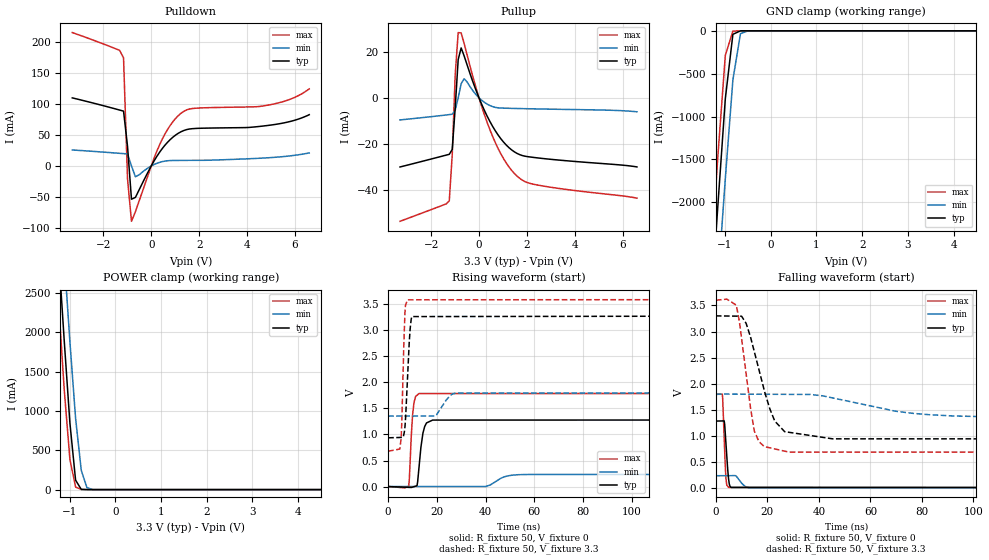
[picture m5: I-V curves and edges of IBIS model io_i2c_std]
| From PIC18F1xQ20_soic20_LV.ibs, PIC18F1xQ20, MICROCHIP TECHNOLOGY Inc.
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[Model] io_i2c_std
Model_type I/O
Vinl  =  0.8
Vinh  =  2
| Capacitance   typ   min   max
C_comp   2.725046340352118e-12   2.71334004266981e-12   2.871105718931219e-12
[Model Spec]
| Subparameter   typ   min   max
Vinl   1.5   0.81   1.65
Vinh   3.6   1.89   3.85
Vmeas   2.5   1.35   2.75
| Variables   typ   min   max
[GND Clamp Reference]   0   0   0
[POWER Clamp Reference]   3.3   1.8   3.6
[Pulldown Reference]   0   0   0
[Pullup Reference]   3.3   1.8   3.6
[Temperature Range]   25   125   -40
[Voltage Range]   3.3   1.8   3.6
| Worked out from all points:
|   slope of the pulldown table from 0 to 0.495 V, typ, clamps not added: 16.7 ohm
|   slope of the pullup table from 0 to 0.495 V, typ, clamps not added: 44.8 ohm
|   GND clamp passes 1 mA (typ) near -0.66 V on its own axis
|   POWER clamp passes 1 mA (typ) near -0.65 V on its own axis
|   falling waveform, R_fixture 50, V_fixture 0: 20-80 % time 1.09ns typ, 2.41ns min, 853ps max; typ from 1.28 V to 0 V
|   falling waveform, R_fixture 50, V_fixture 3.3: 20-80 % time 8.02ns typ, 27.6ns min, 4.76ns max; typ from 3.3 V to 0.936 V
|   rising waveform, R_fixture 50, V_fixture 0: 20-80 % time 1.83ns typ, 5.2ns min, 1.27ns max; typ from 0 V to 1.28 V
|   rising waveform, R_fixture 50, V_fixture 3.3: 20-80 % time 1.48ns typ, 4ns min, 1.03ns max; typ from 0.936 V to 3.3 V
[GND Clamp]
| Voltage   I(typ)   I(min)   I(max)
-3.3V     -18.84A    -18.97A    -18.81A
-1.324V   -3.355A    -4.2A      -2.821A
-1.159V   -2.058A    -2.962A    -1.482A
-993.1mV  -791.4mA   -1.724A    -285.7mA
-827.6mV  -40.7mA    -571.9mA   -3.271mA
-662.1mV  -675.5uA   -33.29mA   -476.7uA
-496.6mV  -18.01uA   -398.8uA   -5.006uA
6.6V      0A         0A         0A
[POWER Clamp]
| Voltage   I(typ)   I(min)   I(max)
-3.3V     21.48A     21.8A      21.33A
-1.366V   4.118A     5.086A     3.519A
-1.241V   3.004A     4.013A     2.376A
-1.117V   1.891A     2.941A     1.268A
-993.1mV  844.6mA    1.878A     384mA
-869mV    120.1mA    905.2mA    32.59mA
-744.8mV  3.04mA     244.8mA    1.422mA
-620.7mV  355.2uA    25.38mA    411.4uA
-496.6mV  31.76uA    1.028mA    50.2uA
6.6V      0A         0A         0A
[Pulldown]
| Voltage   I(typ)   I(min)   I(max)
-3.3V     109.4mA    25.68mA    214.5mA
-1.324V   89.88mA    20.27mA    185.9mA
-1.159V   88.12mA    19.77mA    173.8mA
-993.1mV  31.88mA    19.25mA    -20.25mA
-827.6mV  -53.52mA   -38.8uA    -89.02mA
-662.1mV  -50.57mA   -17.43mA   -73.42mA
341.4mV   21.7mA     5.717mA    33.47mA
796.6mV   42.57mA    8.672mA    65.49mA
1.252V    55.14mA    8.913mA    84.98mA
1.821V    60.19mA    9.023mA    92.72mA
4.914V    65.31mA    13.23mA    98.08mA
6.6V      82.43mA    20.93mA    123.9mA
[Pullup]
| Voltage   I(typ)   I(min)   I(max)
-3.3V     -30.16mA   -9.647mA   -53.85mA
-1.241V   -24.64mA   -7.321mA   -44.94mA
-1.117V   -22.53mA   -7.16mA    -24.83mA
-993.1mV  -4.252mA   -5.372mA   10.11mA
-869mV    16.68mA    -65.45uA   28.46mA
-744.8mV  21.76mA    6.197mA    28.3mA
-620.7mV  18.28mA    8.325mA    23.71mA
455.2mV   -10.29mA   -3.355mA   -13.89mA
1.024V    -19.27mA   -4.499mA   -26.48mA
1.593V    -24.26mA   -4.657mA   -34.17mA
2.503V    -26.27mA   -4.856mA   -38.14mA
6.6V      -30.13mA   -6.09mA    -43.73mA
[Ramp]
dV/dt_r   0.768807/1.83277n  0.139528/5.19713n  1.07649/1.2673n
dV/dt_f   1.41822/8.01666n  0.268062/27.6078n  1.75308/4.75909n
R_load = 50
[Falling Waveform]
R_fixture = 50
V_fixture = 0
V_fixture_min = 0
V_fixture_max = 0
| Time   V(typ)   V(min)   V(max)
0s        1.281V     232.5mV    1.794V
2.477ns   1.284V     233.3mV    1.798V
2.666ns   1.284V     233.3mV    1.692V
3.234ns   1.285V     233.5mV    955.7mV
3.935ns   839.5mV    233.7mV    174.3mV
4.239ns   614.8mV    233.8mV    52.68mV
4.941ns   170.9mV    234mV      8.652mV
5.954ns   8.684mV    234.3mV    8.636mV
13ns      8.574mV    2.345mV    8.527mV
562.5ns   3.684uV    3.402uV    2.473uV
[Falling Waveform]
R_fixture = 50
V_fixture = 3.3
V_fixture_min = 1.8
V_fixture_max = 3.6
| Time   V(typ)   V(min)   V(max)
0s        3.3V       1.8V       3.6V
7.963ns   3.295V     1.798V     3.505V
11.75ns   3.157V     1.798V     2.19V
14.93ns   2.614V     1.797V     1.093V
16.73ns   2.269V     1.797V     887.7mV
22.85ns   1.283V     1.795V     747.2mV
28.17ns   1.068V     1.794V     687.9mV
76.39ns   940.7mV    1.431V     687mV
110.8ns   940.4mV    1.359V     686.4mV
562.5ns   936.3mV    1.353V     678.2mV
[Rising Waveform]
R_fixture = 50
V_fixture = 0
V_fixture_min = 0
V_fixture_max = 0
| Time   V(typ)   V(min)   V(max)
0s        -64.57pV   6.125nV    -75.35pV
8.464ns   -15.46mV   101.3uV    10.35mV
10.03ns   -11.09mV   120.1uV    1.374V
11.86ns   16.8mV     141.9uV    1.754V
12.64ns   352.9mV    151.4uV    1.786V
13.45ns   752.5mV    161uV      1.786V
15.02ns   1.156V     179.8uV    1.786V
18.27ns   1.277V     218.7uV    1.786V
57.84ns   1.277V     232mV      1.787V
562.5ns   1.281V     232.5mV    1.794V
[Rising Waveform]
R_fixture = 50
V_fixture = 3.3
V_fixture_min = 1.8
V_fixture_max = 3.6
| Time   V(typ)   V(min)   V(max)
0s        936.3mV    1.353V     678.2mV
5.236ns   943mV      1.353V     884.6mV
5.603ns   943.5mV    1.353V     1.242V
6.925ns   1.159V     1.353V     3.359V
7.968ns   2.098V     1.353V     3.587V
9.038ns   3.03V      1.353V     3.587V
9.748ns   3.265V     1.353V     3.587V
19.45ns   3.265V     1.36V      3.587V
27.99ns   3.266V     1.797V     3.587V
562.5ns   3.3V       1.8V       3.6V
